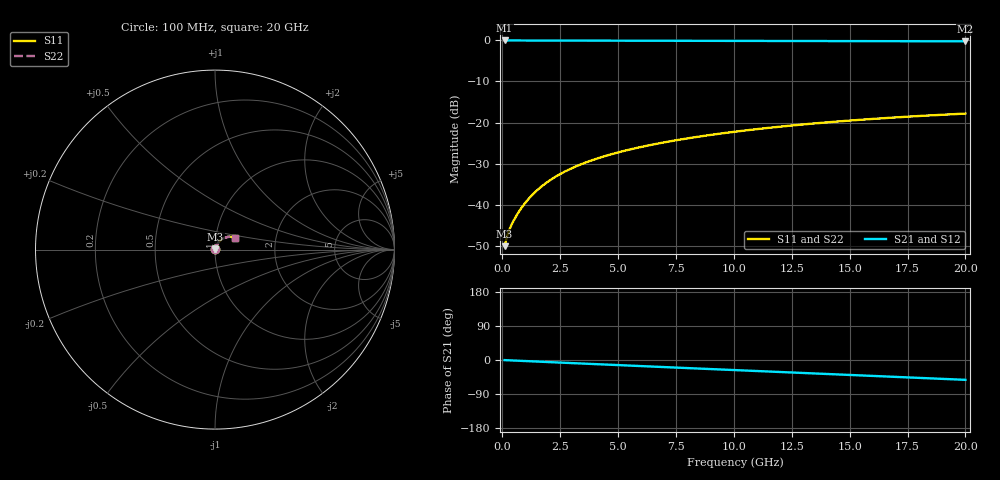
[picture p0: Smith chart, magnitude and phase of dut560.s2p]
! Touchstone file exported from HFSS 2026.1.0
!  File:  C:/ffzhzh/LocalFiles/Ansys_Project_Files/temp_train_TMRDL_560_1783007825_55676.aedt
!  Generated:  11:58:51 PM Jul  2, 2026
!  Design:  TMRDL
!  Project:  temp_train_TMRDL_560_1783007825_55676
! Variables:
!  h_bsmrdl = 2um
!  h_ox = 20um
!  h_rdl = 5um
!  h_sub = 80um
!  h_tmrdl = 5.19um
!  h_tsv = 80um
!  h_via = 3um
!  l_bsmrdl = 300um
!  l_sub = 1326.77um
!  l_tmrdl = 926.77um
!  m_sub = 200um
!  pitch = 34.96um
!  r_tsv = 6um
!  s_tmrdl = 10um
!  w_bsmrdl = 18um
!  w_sub = 500um
!  w_tmrdl = 26.15um
!  x_tsv_center1 = 939.845um
!  x_tsv_center2 = 1257.845um
!  x_tsv_center3 = 2210.765um
!  x_tsv_center4 = 2528.765um
!  x_tsv_center5 = 3481.685um
!  x_tsv_center6 = 3799.685um
# GHz S MA R 50.000000
! Terminal data exported
! Port[1] = TM_RDL1_1_T1
! Port[2] = TM_RDL1_1_T2
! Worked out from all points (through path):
!   200 points, 100 MHz to 20 GHz, reference 50 ohm
!   highest |S21| = -0.02 dB at 100 MHz (marker M1); lowest = -0.2 dB at 20 GHz (marker M2)
!   group delay of S21, straight-line fit = 7.24 ps
!   lowest |S11| = -50.0 dB at 100 MHz (marker M3), VSWR 1.01, Z = 50.3 + j0.149 ohm
!   |S11| at or under -10 dB: start of sweep to end of sweep
!   |S22| runs from -50.0 to -17.8 dB; largest |S21 - S12| = 2.5e-14
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0.1  0.003148 28.1  0.9972 -0.3  0.9972 -0.3  0.003148 28.1
! Gamma 0 0 0 0
! Port Impedance 50 0 50 0
0.2  0.004123 38.9  0.9968 -0.6  0.9968 -0.6  0.004123 38.9
0.3  0.004965 44.6  0.9965 -0.9  0.9965 -0.9  0.004965 44.6
0.4  0.00574 49.1  0.9963 -1.1  0.9963 -1.1  0.005741 49.1
0.5  0.006511 52.8  0.9962 -1.4  0.9962 -1.4  0.006512 52.8
0.7  0.008113 58.5  0.996 -1.9  0.996 -1.9  0.008114 58.5
0.9  0.009791 62.4  0.9958 -2.5  0.9958 -2.5  0.009792 62.3
1.1  0.01152 64.9  0.9956 -3.0  0.9956 -3.0  0.01152 64.9
1.3  0.01327 66.5  0.9954 -3.6  0.9954 -3.6  0.01327 66.5
1.7  0.01679 68.3  0.995 -4.7  0.995 -4.7  0.0168 68.2
2.2  0.02115 68.9  0.9943 -6.0  0.9943 -6.0  0.02115 68.8
2.8  0.02623 68.5  0.9934 -7.6  0.9934 -7.6  0.02623 68.5
3.5  0.03193 67.4  0.9923 -9.5  0.9923 -9.5  0.03194 67.4
4.2  0.0374 66.1  0.9912 -11.4  0.9912 -11.4  0.03741 66.1
5  0.04341 64.5  0.99 -13.5  0.99 -13.5  0.04342 64.4
5.9  0.04992 62.7  0.9887 -15.8  0.9887 -15.8  0.04994 62.6
6.8  0.05622 60.8  0.9875 -18.2  0.9875 -18.2  0.05624 60.6
8.3  0.06633 57.5  0.9857 -22.1  0.9857 -22.1  0.06636 57.4
10.1  0.07787 53.6  0.9836 -26.8  0.9836 -26.8  0.07791 53.4
13.4  0.09733 46.1  0.9799 -35.4  0.9799 -35.4  0.09739 45.9
16.7  0.1144 38.4  0.9765 -43.9  0.9765 -43.9  0.1144 38.1
20  0.1287 30.6  0.9735 -52.4  0.9735 -52.4  0.1288 30.2
